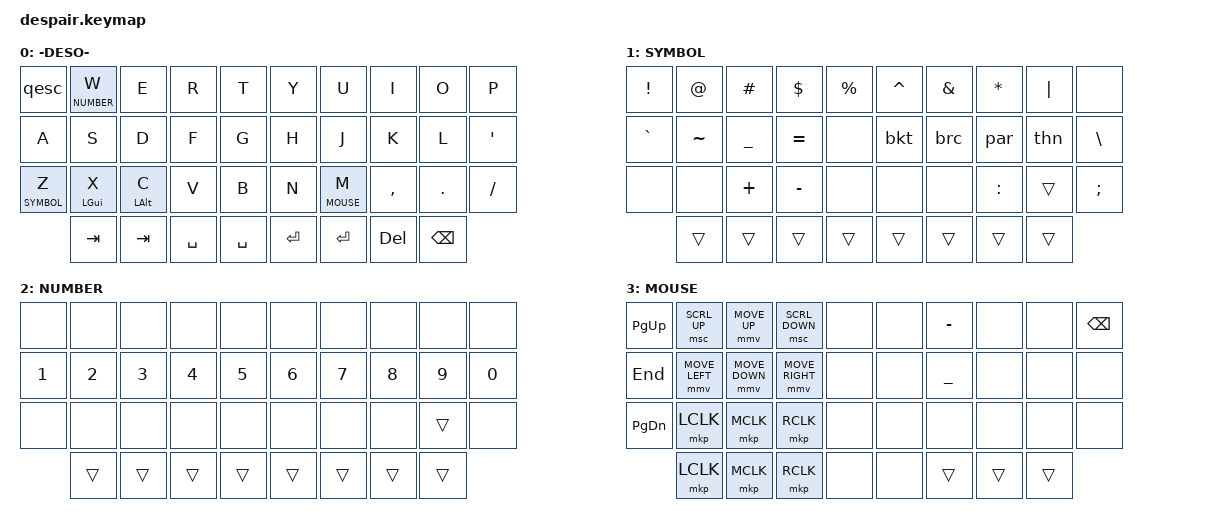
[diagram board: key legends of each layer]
/*
 * Copyright (c) 2024 miketronic
 * SPDX-License-Identifier: MIT
 * QWERTY Desolation V3
 */

#include <behaviors.dtsi>
#include <dt-bindings/zmk/keys.h>
#include <dt-bindings/zmk/bt.h>
#include <dt-bindings/zmk/outputs.h>
#include <dt-bindings/zmk/mouse.h>
#include "mouse.dtsi"
#    define MS_ACT(key) &lt MSE key


#define ALPHA       0
#define SYMBOL      1
#define NUMBER      2
#define MOUSE       3

&mt {
    flavor = "tap-preferred";
    tapping_term_ms = <180>;
};

&lt {
    tapping_term_ms = <150>;
};

/ {
    combos {

        compatible = "zmk,combos";
        combo_bootloader {
            timeout-ms = <50>;
            key-positions = <1 10>;
            bindings = <&bootloader>;
        };
    };

    behaviors {

        qesc: tap_dance_qesc {
            compatible = "zmk,behavior-tap-dance";
            #binding-cells = <0>;
            tapping-term-ms = <300>;
            bindings = <&kp Q>, <&kp ESC>;
        };

        bkt: tap_dance_bracket {
            compatible = "zmk,behavior-tap-dance";
            #binding-cells = <0>;
            tapping-term-ms = <200>;
            bindings = <&kp LBKT>, <&kp RBKT>;
        };

        brc: tap_dance_brace {
            compatible = "zmk,behavior-tap-dance";
            #binding-cells = <0>;
            tapping-term-ms = <200>;
            bindings = <&kp LBRC>, <&kp RBRC>;
        };

        par: tap_dance_paren {
            compatible = "zmk,behavior-tap-dance";
            #binding-cells = <0>;
            tapping-term-ms = <200>;
            bindings = <&kp LPAR>, <&kp RPAR>;
        };

        thn: tap_dance_then {
            compatible = "zmk,behavior-tap-dance";
            #binding-cells = <0>;
            tapping-term-ms = <200>;
            bindings = <&kp LT>, <&kp GT>;
        };

        hrm: homerow_mods {
           compatible = "zmk,behavior-hold-tap";
           #binding-cells = <2>;
           tapping-term-ms = <250>;
           quick-tap-ms = <0>;
           flavor = "tap-preferred";
           bindings = <&kp>, <&kp>;

        };

    };



    keymap {
        compatible = "zmk,keymap";

        ALPHA_layer {
            display-name = "-DESO-";  
            bindings = <
                &qesc   &lt NUMBER W          &kp E        &kp R       &kp T        &kp Y     &kp U          &kp I     &kp O    &kp P
                &kp A   &kp S          &kp D        &kp F       &kp G        &kp H     &kp J          &kp K     &kp L    &kp SQT
                &lt SYMBOL Z   &hrm LGUI X    &hrm LALT C  &kp V       &kp B        &kp N     &lt MOUSE M    &kp COMMA &kp DOT  &kp SLASH
                        &kp TAB        &kp TAB    &kp SPACE   &kp SPACE    &kp RET   &kp RET        &kp DEL   &kp BSPC
            >;
        };

        SYMBOL_layer {
            display-name = "SYMBOL";  
            bindings = <
                &kp EXCL    &kp AT      &kp HASH    &kp DLLR    &kp PRCNT   &kp CARET   &kp AMPS    &kp STAR    &kp PIPE    &none
                &kp GRAVE   &kp TILDE   &kp UNDER   &kp EQUAL   &none       &bkt        &brc        &par        &thn        &kp BSLH
                &none       &none       &kp PLUS    &kp MINUS   &none       &none       &none       &kp COLON   &trans      &kp SEMI
                                  &trans  &trans    &trans      &trans      &trans      &trans      &trans      &trans
            >;
        };

        NUMBER_layer {
            display-name = "NUMBER";  
            bindings = <
                &none       &none       &none       &none       &none       &none       &none       &none       &none       &none
                &kp N1      &kp N2      &kp N3      &kp N4      &kp N5      &kp N6      &kp N7      &kp N8      &kp N9      &kp N0
                &none       &none       &none       &none       &none       &none       &none       &none       &trans      &none
                            &trans      &trans      &trans      &trans      &trans      &trans      &trans      &trans
            >;
        };

        MOUSE_layer {
            display-name = "MOUSE";  
            bindings = <
                &kp PG_UP  &msc SCRL_UP      &mmv MOVE_UP      &msc SCRL_DOWN    &none    &none       &kp MINUS   &none    &none     &kp BSPC 
                &kp END    &mmv MOVE_LEFT    &mmv MOVE_DOWN    &mmv MOVE_RIGHT   &none    &none       &kp UNDER   &none    &none     &none
                &kp PG_DN  &mkp LCLK         &mkp MCLK         &mkp RCLK         &none    &none       &none       &none    &none     &none    
                           &mkp LCLK         &mkp MCLK         &mkp RCLK         &none    &none       &trans      &trans   &trans
            >;
        };

    };
};

